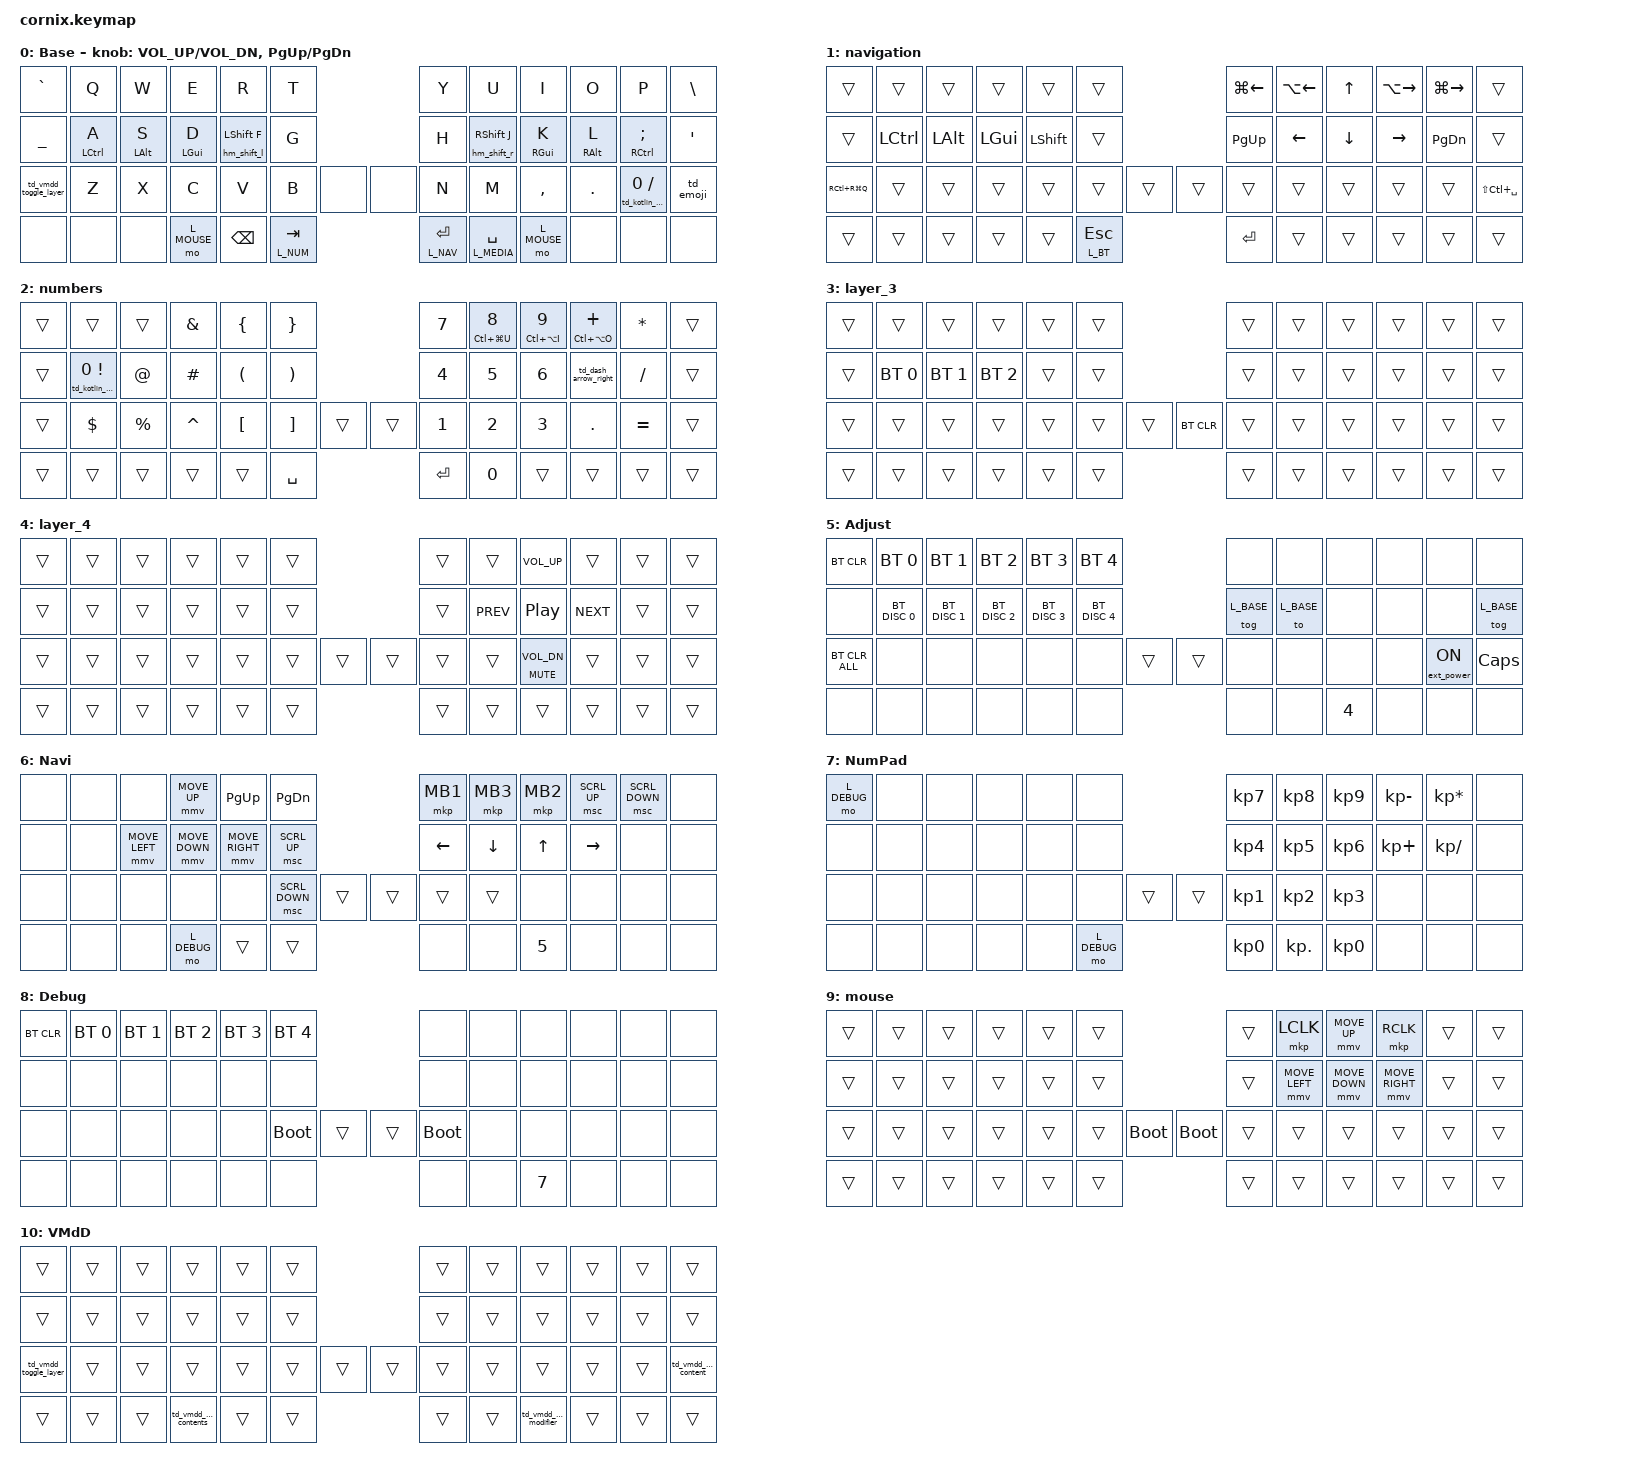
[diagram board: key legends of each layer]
/*
 * Copyright (c) 2020 The ZMK Contributors
 *
 * SPDX-License-Identifier: MIT
 */

#include "includes/cornix54.h"
#include "includes/common.dtsi"

/ {
    keymap {
        compatible = "zmk,keymap";

        default_layer {
            display-name = "Base";

            // ----------------------------------------------------------------------------------------------------------------------
            // |   `   |   Q   |   W   |   E   |   R   |   T   |                   |   Y   |   U   |   I   |   O   |   P   |   \   |
            // |   _   | A/CTL | S/ALT | D/CMD | F/SFT |   G   |                   |   H   | J/SFT | K/CMD | L/ALT | ;/CTL |   '   |
            // | -/VMdD|   Z   |   X   |   C   |   V   |   B   |       |       |   |   N   |   M   |   ,   |   .   |  / ?: | EMOJI |
            // |       |       |       | MOUSE |  BSPC |TAB/NUM|                   |ENT/NAV|SPC/MED| MOUSE |       |       |       |
            //
            // Cornix only: the blank keys are unused. Encoders: volume and page up/down.
            // x/Y = tap x, hold Y.  Home-row mods: CTL ALT CMD SFT (mirrored on the right).
            // -/VMdD: tap -, double-tap toggles VMdD.  EMOJI: double-tap for the emoji picker.
            // / ?:  : tap /, hold types "?:".

            bindings = <
&kp GRAVE              &kp Q          &kp W         &kp E         &kp R                &kp T                             &kp Y                 &kp U                &kp I         &kp O         &kp P                                &kp BSLH
&kp UNDERSCORE         &hm_l LCTRL A  &hm_l LALT S  &hm_l LGUI D  &hm_shift_l LSHFT F  &kp G                             &kp H                 &hm_shift_r RSHFT J  &hm_r RGUI K  &hm_r RALT L  &hm_r RCTRL SEMI                     &kp SQT
&td_vmdd_toggle_layer  &kp Z          &kp X         &kp C         &kp V                &kp B               &none  &none  &kp N                 &kp M                &kp COMMA     &kp DOT       &td_kotlin_ternary_operator 0 SLASH  &td_emoji
&none                  &none          &none         &mo L_MOUSE   &kp BACKSPACE        &lt_hold L_NUM TAB                &lt_hold L_NAV ENTER  &lt L_MEDIA SPACE    &mo L_MOUSE   &none         &none                                &none
            >;

            sensor-bindings = <&inc_dec_kp C_VOL_UP C_VOL_DN &inc_dec_kp PG_UP PG_DN>;
        };

        navigation {
            // Navigation (hold Enter). Left home row is plain CTL ALT CMD SFT (no
            // hold-tap), so holding F (Shift) reliably turns any of these into a selection.
            //
            //   line start | word <- |  up  | word -> | line end
            //   page up    |  left   | down |  right  | page down

            bindings = <
&trans         &trans     &trans    &trans    &trans     &trans                             &kp LG(LEFT)  &kp LA(LEFT)  &kp UP    &kp LA(RIGHT)  &kp LG(RIGHT)  &trans
&trans         &kp LCTRL  &kp LALT  &kp LGUI  &kp LSHFT  &trans                             &kp PG_UP     &kp LEFT      &kp DOWN  &kp RIGHT      &kp PG_DN      &trans
&kp RC(RG(Q))  &trans     &trans    &trans    &trans     &trans             &trans  &trans  &trans        &trans        &trans    &trans         &trans         &kp LS(LC(SPACE))
&trans         &trans     &trans    &trans    &trans     &lt_hold L_BT ESC                  &kp RET       &trans        &trans    &trans         &trans         &trans
            >;
        };

        numbers {
            bindings = <
&trans  &trans                                         &trans     &kp AMPS   &kp LBRC              &kp RBRC                               &kp N7   &mt LC(LG(U)) N8  &mt LC(LA(I)) N9  &mt LC(LA(O)) PLUS    &kp ASTERISK  &trans
&trans  &td_kotlin_not_equal_comparison 0 EXCLAMATION  &kp AT     &kp HASH   &kp LEFT_PARENTHESIS  &kp RIGHT_PARENTHESIS                  &kp N4   &kp N5            &kp N6            &td_dash_arrow_right  &kp FSLH      &trans
&trans  &kp DLLR                                       &kp PRCNT  &kp CARET  &kp LEFT_BRACKET      &kp RIGHT_BRACKET      &trans  &trans  &kp N1   &kp N2            &kp N3            &kp DOT               &kp EQUAL     &trans
&trans  &trans                                         &trans     &trans     &trans                &kp SPACE                              &kp RET  &kp N0            &trans            &trans                &trans        &trans
            >;
        };

        layer_3 {
            bindings = <
&trans  &trans        &trans        &trans        &trans  &trans                      &trans  &trans  &trans  &trans  &trans  &trans
&trans  &bt BT_SEL 0  &bt BT_SEL 1  &bt BT_SEL 2  &trans  &trans                      &trans  &trans  &trans  &trans  &trans  &trans
&trans  &trans        &trans        &trans        &trans  &trans  &trans  &bt BT_CLR  &trans  &trans  &trans  &trans  &trans  &trans
&trans  &trans        &trans        &trans        &trans  &trans                      &trans  &trans  &trans  &trans  &trans  &trans
            >;
        };

        layer_4 {
            bindings = <
&trans  &trans  &trans  &trans  &trans  &trans                  &trans  &trans      &kp K_VOL_UP         &trans      &trans  &trans
&trans  &trans  &trans  &trans  &trans  &trans                  &trans  &kp C_PREV  &kp C_PP             &kp C_NEXT  &trans  &trans
&trans  &trans  &trans  &trans  &trans  &trans  &trans  &trans  &trans  &trans      &mt K_MUTE K_VOL_DN  &trans      &trans  &trans
&trans  &trans  &trans  &trans  &trans  &trans                  &trans  &trans      &trans               &trans      &trans  &trans
            >;
        };

        Adjust_layer {
            display-name = "Adjust";

            // ----------------------------------------------------------------------------------------------------------------------------
            // | BTCLR  |  BT1    |  BT2    |   BT3   |   BT4   |   BT5   |                  |      |      |       |      |       |       |
            // | moDEBUG| RGB_HUD | RGB_HUI | RGB_SAD | RGB_SAI | RGB_EFF |                  |      |      |       |      |       |       |
            // | EXTPWR | RGB_BRD | RGB_BRI |         |         |         |                  |      |      |       |      |       |       |
            // |        |         |         |         |         |         | RGB_TOG | |      |      |      |       |      |       |       |
            //                    |         |         |         |         |         | |      |      |      |       |      |

            bindings = <
&bt BT_CLR      &bt BT_SEL 0   &bt BT_SEL 1   &bt BT_SEL 2   &bt BT_SEL 3   &bt BT_SEL 4                   &none        &none       &none   &none  &none             &none
&none           &bt BT_DISC 0  &bt BT_DISC 1  &bt BT_DISC 2  &bt BT_DISC 3  &bt BT_DISC 4                  &tog L_BASE  &to L_BASE  &none   &none  &none             &tog L_BASE
&bt BT_CLR_ALL  &none          &none          &none          &none          &none          &trans  &trans  &none        &none       &none   &none  &ext_power EP_ON  &kp CAPSLOCK
&none           &none          &none          &none          &none          &none                          &none        &none       &kp N4  &none  &none             &none
            >;
        };

        Navi_layer {
            display-name = "Navi";
            bindings = <
&none  &none  &none           &mmv MOVE_UP    &kp PAGE_UP      &kp PAGE_DOWN                   &mkp MB1  &mkp MB3  &mkp MB2  &msc SCRL_UP  &msc SCRL_DOWN  &none
&none  &none  &mmv MOVE_LEFT  &mmv MOVE_DOWN  &mmv MOVE_RIGHT  &msc SCRL_UP                    &kp LEFT  &kp DOWN  &kp UP    &kp RIGHT     &none           &none
&none  &none  &none           &none           &none            &msc SCRL_DOWN  &trans  &trans  &trans    &trans    &none     &none         &none           &none
&none  &none  &none           &mo L_DEBUG     &trans           &trans                          &none     &none     &kp N5    &none         &none           &none
            >;
        };

        KeyPad_layer {
            display-name = "NumPad";
            bindings = <
&mo L_DEBUG  &none  &none  &none  &none  &none                        &kp KP_N7        &kp KP_N8        &kp KP_N9        &kp KP_MINUS  &kp KP_MULTIPLY  &none
&none        &none  &none  &none  &none  &none                        &kp KP_NUMBER_4  &kp KP_NUMBER_5  &kp KP_N6        &kp KP_PLUS   &kp KP_DIVIDE    &none
&none        &none  &none  &none  &none  &none        &trans  &trans  &kp KP_NUMBER_1  &kp KP_NUMBER_2  &kp KP_N3        &none         &none            &none
&none        &none  &none  &none  &none  &mo L_DEBUG                  &kp KP_N0        &kp KP_DOT       &kp KP_NUMBER_0  &none         &none            &none
            >;
        };

        NumSym {
            display-name = "Debug";

            // ----------------------------------------------------------------------------------------------------------------------------
            // | BTCLR  |  BT1    |  BT2    |   BT3   |   BT4   |   BT5   |                  |      |      |       |      |       |       |
            // | EXTPWR | BTCLR | RGB_HUI | RGB_SAD | RGB_SAI | RGB_EFF |                  |      |      |       |      |       |       |
            // |        | RGB_BRD | RGB_BRI |         |         |         |                  |      |      |       |      |       |       |
            // |        |         |         |         |         |         | RGB_TOG | |      |      |      |       |      |       |       |
            //                    |         |         |         |         |         | |      |      |      |       |      |

            bindings = <
&bt BT_CLR  &bt BT_SEL 0  &bt BT_SEL 1  &bt BT_SEL 2  &bt BT_SEL 3  &bt BT_SEL 4                  &none        &none  &none   &none  &none  &none
&none       &none         &none         &none         &none         &none                         &none        &none  &none   &none  &none  &none
&none       &none         &none         &none         &none         &bootloader   &trans  &trans  &bootloader  &none  &none   &none  &none  &none
&none       &none         &none         &none         &none         &none                         &none        &none  &kp N7  &none  &none  &none
            >;
        };

        mouse {
            bindings = <
&trans  &trans  &trans  &trans  &trans  &trans                            &trans  &mkp LCLK       &mmv MOVE_UP    &mkp RCLK        &trans  &trans
&trans  &trans  &trans  &trans  &trans  &trans                            &trans  &mmv MOVE_LEFT  &mmv MOVE_DOWN  &mmv MOVE_RIGHT  &trans  &trans
&trans  &trans  &trans  &trans  &trans  &trans  &bootloader  &bootloader  &trans  &trans          &trans          &trans           &trans  &trans
&trans  &trans  &trans  &trans  &trans  &trans                            &trans  &trans          &trans          &trans           &trans  &trans
            >;
        };

        VMdD {
            display-name = "VMdD";
            bindings = <
&trans                 &trans  &trans  &trans                     &trans  &trans                  &trans  &trans  &trans                     &trans  &trans  &trans
&trans                 &trans  &trans  &trans                     &trans  &trans                  &trans  &trans  &trans                     &trans  &trans  &trans
&td_vmdd_toggle_layer  &trans  &trans  &trans                     &trans  &trans  &trans  &trans  &trans  &trans  &trans                     &trans  &trans  &td_vmdd_search_content
&trans                 &trans  &trans  &td_vmdd_prepare_contents  &trans  &trans                  &trans  &trans  &td_vmdd_prepare_modifier  &trans  &trans  &trans
            >;
        };
    };
};
